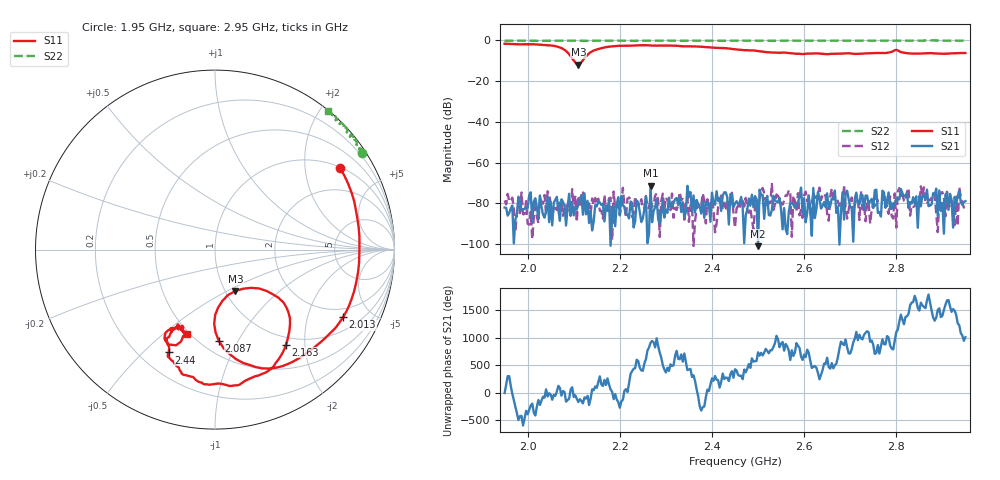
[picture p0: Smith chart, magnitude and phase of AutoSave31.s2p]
!Agilent N9923A: A.07.32
!Date: Thursday, 02 June 2016 22:56:37
!Model: N9923A
!Serial: MY52412257
!GPS Latitude:
!GPS Longitude:
!GPS TimeStamp: 0001-01-01 00:00:00Z
!GPS Seconds Since Last Read: 0
!CHECKSUM:2088978332
!Correction: S11(ON U)S21(ON U)S12(ON U)S22(ON U)
!S2P File: Measurements:S11,S21,S12,S22:
# Hz S DB R 50
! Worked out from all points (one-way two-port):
!   301 points, 1.95 GHz to 2.95 GHz, reference 50 ohm
!   highest |S21| = -71.24 dB at 2.267 GHz (marker M1); lowest = -101.0 dB at 2.5 GHz (marker M2)
!   lowest |S11| = -11.8 dB at 2.11 GHz (marker M3), VSWR 1.69, Z = 55.6 - j27.5 ohm
!   |S11| at or under -10 dB: 2.101 GHz to 2.119 GHz (18.29 MHz wide, 0.867 % of centre)
!   |S22| runs from -0.2 to 0.0 dB; largest |S21 - S12| = 0.00041
!   S11 on the Smith chart (normalised r, x): 1.95 GHz: 1.03, +3.03; 2.013 GHz: 1.56, -3.36; 2.087 GHz: 0.61, -0.83; 2.163 GHz: 0.87, -1.64; 2.44 GHz: 0.32, -0.60; 2.95 GHz: 0.48, -0.60
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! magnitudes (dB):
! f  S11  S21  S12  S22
! 1.95 GHz  -1.6  -82.0  -78.5  -0.1
! 2.013 GHz  -1.9  -79.2  -87.1  -0.2
! 2.087 GHz  -5.9  -82.1  -83.7  -0.1
! 2.11 GHz  -11.8  -79.8  -76.3  -0.1
! 2.12 GHz  -9.7  -85.5  -74.6  -0.2
! 2.163 GHz  -3.6  -80.1  -87.5  -0.1
! 2.207 GHz  -2.6  -81.1  -72.3  -0.1
! 2.263 GHz  -2.4  -94.8  -82.2  -0.1
! 2.267 GHz  -2.5  -71.2  -77.7  -0.1
! 2.287 GHz  -2.5  -90.2  -96.5  -0.1
! 2.44 GHz  -4.0  -75.5  -81.1  -0.1
! 2.453 GHz  -4.4  -78.9  -82.6  -0.1
! 2.5 GHz  -5.2  -101.0  -84.9  -0.1
! 2.51 GHz  -5.4  -75.8  -72.3  -0.1
! 2.527 GHz  -5.9  -86.0  -79.8  -0.1
! 2.53 GHz  -5.9  -83.1  -70.4  -0.1
! 2.533 GHz  -5.9  -76.2  -83.2  -0.1
! 2.62 GHz  -6.3  -72.4  -74.6  -0.1
! 2.783 GHz  -5.9  -74.6  -85.1  0.0
! 2.85 GHz  -6.4  -76.4  -80.0  0.0
! 2.853 GHz  -6.4  -81.5  -71.6  0.0
! 2.95 GHz  -6.1  -78.9  -80.8  0.0
